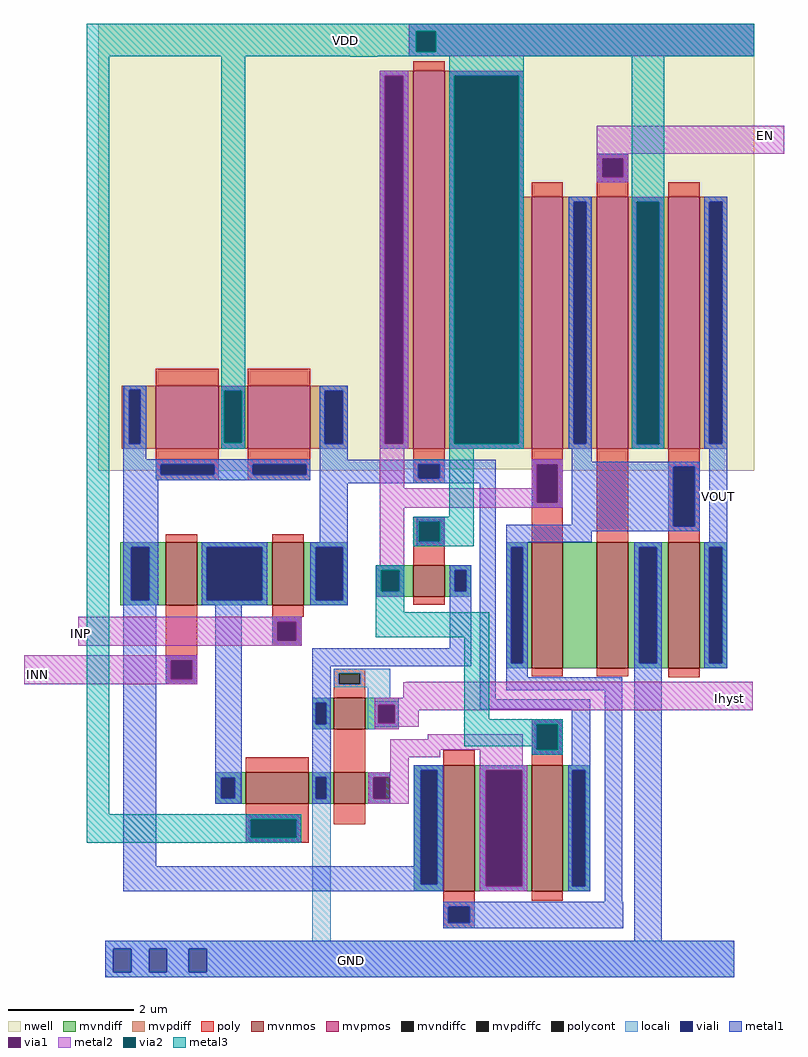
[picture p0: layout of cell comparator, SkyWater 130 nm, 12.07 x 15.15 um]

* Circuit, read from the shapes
.subckt comparator EN GND INN INP Ihyst VDD VOUT
XM1 n1 INN n2 VSUBS sky130_fd_pr__nfet_g5v0d10v5 w=1 l=0.5
XM2 GND VDD n1 VSUBS sky130_fd_pr__nfet_g5v0d10v5 w=0.5 l=1
XM3 n3 INP n1 VSUBS sky130_fd_pr__nfet_g5v0d10v5 w=1 l=0.5
XM4 n4 Ihyst GND VSUBS sky130_fd_pr__nfet_g5v0d10v5 w=0.5 l=0.5
XM5 Ihyst Ihyst GND VSUBS sky130_fd_pr__nfet_g5v0d10v5 w=0.5 l=0.5
XM6 GND VDD n5 VSUBS sky130_fd_pr__nfet_g5v0d10v5 w=0.5 l=0.5
XM7 n4 n6 n2 VSUBS sky130_fd_pr__nfet_g5v0d10v5 w=2 l=0.5
XM8 n3 n5 n4 VSUBS sky130_fd_pr__nfet_g5v0d10v5 w=2 l=0.5
XM9 n7 n5 n6 VSUBS sky130_fd_pr__nfet_g5v0d10v5 w=2 l=0.5
XM10 GND EN n7 VSUBS sky130_fd_pr__nfet_g5v0d10v5 w=2 l=0.5
XM11 VOUT n6 GND VSUBS sky130_fd_pr__nfet_g5v0d10v5 w=2 l=0.5
XM12 VDD n2 n2 n8 sky130_fd_pr__pfet_g5v0d10v5 w=1 l=1
XM13 n3 n2 VDD n8 sky130_fd_pr__pfet_g5v0d10v5 w=1 l=1
XM14 VDD n3 n5 n8 sky130_fd_pr__pfet_g5v0d10v5 w=6 l=0.5
XM15 n6 n5 VDD n8 sky130_fd_pr__pfet_g5v0d10v5 w=4 l=0.5
XM16 VDD EN n6 n8 sky130_fd_pr__pfet_g5v0d10v5 w=4 l=0.5
XM17 VOUT n6 VDD n8 sky130_fd_pr__pfet_g5v0d10v5 w=4 l=0.5
.ends

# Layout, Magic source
magic
tech sky130A
<< nwell >>
rect -243 102 799 810
rect -243 100 243 102
rect 445 100 799 102
<< mvnmos >>
rect -136 -114 -86 -14
rect 33 -114 83 -14
rect 257 -100 307 -50
rect 445 -214 495 -14
rect 549 -214 599 -14
rect 662 -214 712 -14
rect 131 -311 181 -261
rect -9 -429 91 -379
rect 131 -429 181 -379
rect 305 -568 355 -368
rect 445 -568 495 -368
<< mvpmos >>
rect -152 135 -52 235
rect -6 135 94 235
rect 257 135 307 735
rect 445 135 495 535
rect 549 135 599 535
rect 662 135 712 535
<< mvndiff >>
rect -208 -22 -136 -14
rect -208 -106 -191 -22
rect -162 -106 -136 -22
rect -208 -114 -136 -106
rect -86 -22 33 -14
rect -86 -106 -71 -22
rect 17 -106 33 -22
rect -86 -114 33 -106
rect 83 -22 153 -14
rect 83 -106 102 -22
rect 145 -106 153 -22
rect 405 -22 445 -14
rect 198 -58 257 -50
rect 198 -92 206 -58
rect 235 -92 257 -58
rect 198 -100 257 -92
rect 307 -58 349 -50
rect 307 -92 323 -58
rect 341 -92 349 -58
rect 307 -100 349 -92
rect 83 -114 153 -106
rect 405 -206 413 -22
rect 431 -206 445 -22
rect 405 -214 445 -206
rect 495 -214 549 -14
rect 599 -22 662 -14
rect 599 -206 616 -22
rect 644 -206 662 -22
rect 599 -214 662 -206
rect 712 -22 756 -14
rect 712 -206 727 -22
rect 748 -206 756 -22
rect 712 -214 756 -206
rect 97 -269 131 -261
rect 97 -303 102 -269
rect 119 -303 131 -269
rect 97 -311 131 -303
rect 181 -272 234 -261
rect 181 -301 202 -272
rect 228 -301 234 -272
rect 181 -311 234 -301
rect 258 -376 305 -368
rect -57 -388 -9 -379
rect -57 -420 -48 -388
rect -26 -420 -9 -388
rect -57 -429 -9 -420
rect 91 -387 131 -379
rect 91 -421 102 -387
rect 119 -421 131 -387
rect 91 -429 131 -421
rect 181 -387 221 -379
rect 181 -421 194 -387
rect 213 -421 221 -387
rect 181 -429 221 -421
rect 258 -557 269 -376
rect 295 -557 305 -376
rect 258 -568 305 -557
rect 355 -376 445 -368
rect 355 -560 372 -376
rect 430 -560 445 -376
rect 355 -568 445 -560
rect 495 -376 538 -368
rect 495 -560 510 -376
rect 530 -560 538 -376
rect 495 -568 538 -560
<< mvpdiff >>
rect 204 727 257 735
rect -206 228 -152 235
rect -206 143 -194 228
rect -176 143 -152 228
rect -206 135 -152 143
rect -52 227 -6 235
rect -52 144 -43 227
rect -15 144 -6 227
rect -52 135 -6 144
rect 94 227 153 235
rect 94 143 117 227
rect 145 143 153 227
rect 94 135 153 143
rect 204 143 212 727
rect 241 143 257 727
rect 204 135 257 143
rect 307 727 433 735
rect 307 143 322 727
rect 425 535 433 727
rect 425 143 445 535
rect 307 135 445 143
rect 495 527 549 535
rect 495 143 512 527
rect 532 143 549 527
rect 495 135 549 143
rect 599 527 662 535
rect 599 142 612 527
rect 648 142 662 527
rect 599 135 662 142
rect 712 527 756 535
rect 712 143 727 527
rect 748 143 756 527
rect 712 135 756 143
<< mvndiffc >>
rect -191 -106 -162 -22
rect -71 -106 17 -22
rect 102 -106 145 -22
rect 206 -92 235 -58
rect 323 -92 341 -58
rect 413 -206 431 -22
rect 616 -206 644 -22
rect 727 -206 748 -22
rect 102 -303 119 -269
rect 202 -301 228 -272
rect -48 -420 -26 -388
rect 102 -421 119 -387
rect 194 -421 213 -387
rect 269 -557 295 -376
rect 372 -560 430 -376
rect 510 -560 530 -376
<< mvpdiffc >>
rect -194 143 -176 228
rect -43 144 -15 227
rect 117 143 145 227
rect 212 143 241 727
rect 322 143 425 727
rect 512 143 532 527
rect 612 142 648 527
rect 727 143 748 527
<< poly >>
rect 257 735 307 750
rect -152 235 -52 262
rect -6 235 94 262
rect 549 596 599 603
rect 549 566 557 596
rect 591 566 599 596
rect 445 535 495 558
rect 549 535 599 566
rect 662 535 712 558
rect -152 110 -52 135
rect -152 93 -144 110
rect -59 93 -52 110
rect -152 85 -52 93
rect -6 110 94 135
rect -6 93 2 110
rect 87 93 94 110
rect -6 85 94 93
rect 257 110 307 135
rect 257 88 265 110
rect 299 88 307 110
rect 257 80 307 88
rect 445 110 495 135
rect 445 49 453 110
rect 487 49 495 110
rect 257 19 307 27
rect -136 -14 -86 -1
rect 33 -14 83 -1
rect 257 -12 266 19
rect 299 -12 307 19
rect 257 -50 307 -12
rect 445 -14 495 49
rect 549 -14 599 135
rect 662 106 712 135
rect 662 12 670 106
rect 704 12 712 106
rect 662 -14 712 12
rect 257 -113 307 -100
rect -136 -201 -86 -114
rect 33 -132 83 -114
rect 33 -140 80 -132
rect 33 -170 41 -140
rect 71 -170 80 -140
rect 33 -178 80 -170
rect -136 -231 -128 -201
rect -94 -231 -86 -201
rect -136 -239 -86 -231
rect 131 -222 181 -215
rect 131 -239 139 -222
rect 173 -239 181 -222
rect 445 -227 495 -214
rect 549 -227 599 -214
rect 662 -228 712 -214
rect 131 -261 181 -239
rect 445 -303 495 -295
rect -9 -379 91 -355
rect 131 -379 181 -311
rect 445 -343 453 -303
rect 487 -343 495 -303
rect 305 -368 355 -344
rect 445 -368 495 -343
rect -9 -454 91 -429
rect -9 -483 -1 -454
rect 71 -483 91 -454
rect 131 -462 181 -429
rect -9 -491 91 -483
rect 305 -593 355 -568
rect 445 -583 495 -568
rect 305 -618 313 -593
rect 347 -618 355 -593
rect 305 -627 355 -618
<< polycont >>
rect 557 566 591 596
rect -144 93 -59 110
rect 2 93 87 110
rect 265 88 299 110
rect 453 49 487 110
rect 266 -12 299 19
rect 670 12 704 106
rect 41 -170 71 -140
rect -128 -231 -94 -201
rect 139 -239 173 -222
rect 453 -343 487 -303
rect -1 -483 71 -454
rect 313 -618 347 -593
<< locali >>
rect 250 798 799 810
rect 250 765 262 798
rect 293 765 799 798
rect 250 758 799 765
rect 204 727 249 735
rect -202 228 -167 235
rect -202 143 -194 228
rect -176 143 -167 228
rect -202 135 -167 143
rect -48 227 -10 235
rect -48 144 -43 227
rect -15 144 -10 227
rect -48 135 -10 144
rect 109 227 153 235
rect 109 143 117 227
rect 145 143 153 227
rect 109 135 153 143
rect 204 143 212 727
rect 241 143 249 727
rect 204 135 249 143
rect 314 727 433 735
rect 314 143 322 727
rect 425 143 433 727
rect 549 596 599 603
rect 549 566 557 596
rect 591 566 599 596
rect 549 558 599 566
rect 314 135 433 143
rect 504 527 540 535
rect 504 143 512 527
rect 532 143 540 527
rect 504 135 540 143
rect 604 527 656 535
rect 604 142 612 527
rect 648 142 656 527
rect 604 135 656 142
rect 719 527 756 535
rect 719 143 727 527
rect 748 143 756 527
rect 719 135 756 143
rect -152 110 94 118
rect -152 93 -144 110
rect -59 93 2 110
rect 87 93 94 110
rect -152 85 94 93
rect 257 110 307 118
rect 257 88 265 110
rect 299 88 307 110
rect 257 80 307 88
rect 445 110 495 118
rect 445 49 453 110
rect 487 49 495 110
rect 445 41 495 49
rect 662 106 712 114
rect 257 19 307 27
rect 257 -12 266 19
rect 299 -12 307 19
rect 662 12 670 106
rect 704 12 712 106
rect 662 4 712 12
rect -203 -22 -148 -14
rect -203 -106 -191 -22
rect -162 -106 -148 -22
rect -203 -114 -148 -106
rect -79 -22 25 -14
rect -79 -106 -71 -22
rect 17 -106 25 -22
rect -79 -114 25 -106
rect 94 -22 153 -14
rect 257 -20 307 -12
rect 94 -106 102 -22
rect 145 -106 153 -22
rect 405 -22 439 -14
rect 198 -58 243 -50
rect 198 -92 206 -58
rect 235 -92 243 -58
rect 198 -100 243 -92
rect 315 -58 349 -50
rect 315 -92 323 -58
rect 341 -92 349 -58
rect 315 -100 349 -92
rect 94 -114 153 -106
rect 33 -140 80 -132
rect 33 -170 41 -140
rect 71 -170 80 -140
rect 33 -178 80 -170
rect -136 -201 -86 -193
rect -136 -231 -128 -201
rect -94 -231 -86 -201
rect 405 -206 413 -22
rect 431 -206 439 -22
rect 405 -214 439 -206
rect 608 -22 652 -14
rect 608 -206 616 -22
rect 644 -206 652 -22
rect 608 -214 652 -206
rect 719 -22 756 -14
rect 719 -206 727 -22
rect 748 -206 756 -22
rect 719 -214 756 -206
rect -136 -239 -86 -231
rect 131 -222 221 -215
rect 131 -239 139 -222
rect 173 -239 221 -222
rect 131 -244 221 -239
rect 185 -261 221 -244
rect 97 -269 125 -261
rect 97 -303 102 -269
rect 119 -303 125 -269
rect 97 -311 125 -303
rect 185 -272 234 -261
rect 185 -301 202 -272
rect 228 -301 234 -272
rect 185 -311 234 -301
rect 445 -303 495 -295
rect 445 -343 453 -303
rect 487 -343 495 -303
rect 445 -351 495 -343
rect 258 -376 305 -368
rect -57 -388 -17 -379
rect -57 -420 -48 -388
rect -26 -420 -17 -388
rect -57 -429 -17 -420
rect 97 -387 126 -379
rect 97 -421 102 -387
rect 119 -421 126 -387
rect -9 -454 79 -446
rect -9 -483 -1 -454
rect 71 -483 79 -454
rect -9 -491 79 -483
rect 97 -647 126 -421
rect 186 -387 221 -379
rect 186 -421 194 -387
rect 213 -421 221 -387
rect 186 -429 221 -421
rect 258 -557 269 -376
rect 295 -557 305 -376
rect 258 -568 305 -557
rect 363 -376 438 -368
rect 363 -560 372 -376
rect 430 -560 438 -376
rect 363 -568 438 -560
rect 503 -376 538 -368
rect 503 -560 510 -376
rect 530 -560 538 -376
rect 503 -568 538 -560
rect 305 -593 355 -585
rect 305 -618 313 -593
rect 347 -618 355 -593
rect 305 -627 355 -618
rect -232 -659 767 -647
rect -232 -697 -219 -659
rect -191 -697 -162 -659
rect -134 -697 -99 -659
rect -71 -697 767 -659
rect -232 -705 767 -697
<< viali >>
rect 262 765 293 798
rect -194 143 -176 228
rect -43 144 -15 227
rect 117 143 145 227
rect 212 143 241 727
rect 322 143 425 727
rect 557 566 591 596
rect 512 143 532 527
rect 612 142 648 527
rect 727 143 748 527
rect -144 93 -59 110
rect 2 93 87 110
rect 265 88 299 110
rect 453 49 487 110
rect 266 -12 299 19
rect 670 12 704 106
rect -191 -106 -162 -22
rect -71 -106 17 -22
rect 102 -106 145 -22
rect 206 -92 235 -58
rect 323 -92 341 -58
rect 41 -170 71 -140
rect -128 -231 -94 -201
rect 413 -206 431 -22
rect 616 -206 644 -22
rect 727 -206 748 -22
rect 102 -303 119 -269
rect 202 -301 228 -272
rect 453 -343 487 -303
rect -48 -420 -26 -388
rect 102 -421 119 -387
rect -1 -483 71 -454
rect 194 -421 213 -387
rect 269 -557 295 -376
rect 372 -560 430 -376
rect 510 -560 530 -376
rect 313 -618 347 -593
rect -219 -697 -191 -659
rect -162 -697 -134 -659
rect -99 -697 -71 -659
<< metal1 >>
rect 250 798 799 810
rect 250 765 262 798
rect 293 765 799 798
rect 250 758 799 765
rect 204 727 249 735
rect -203 228 -167 235
rect -203 143 -194 228
rect -176 143 -167 228
rect -203 118 -167 143
rect -48 227 -10 235
rect -48 144 -43 227
rect -15 144 -10 227
rect -48 135 -10 144
rect 109 227 153 235
rect 109 143 117 227
rect 145 143 153 227
rect -203 110 94 118
rect -203 93 -144 110
rect -59 93 2 110
rect 87 93 94 110
rect -203 85 94 93
rect 109 117 153 143
rect 204 143 212 727
rect 241 143 249 727
rect 204 135 249 143
rect 314 727 433 735
rect 314 143 322 727
rect 425 143 433 727
rect 549 596 599 603
rect 549 566 557 596
rect 591 566 599 596
rect 549 558 599 566
rect 314 135 433 143
rect 504 527 541 535
rect 504 143 512 527
rect 532 143 541 527
rect 504 135 541 143
rect 604 527 656 535
rect 604 142 612 527
rect 648 142 656 527
rect 604 135 656 142
rect 719 527 756 535
rect 719 143 727 527
rect 748 143 756 527
rect 719 135 756 143
rect 109 110 388 117
rect 109 88 265 110
rect 299 88 388 110
rect -203 -22 -148 85
rect 109 80 388 88
rect 109 -14 153 80
rect -203 -106 -191 -22
rect -162 -106 -148 -22
rect -203 -114 -148 -106
rect -79 -22 25 -14
rect -79 -106 -71 -22
rect 17 -106 25 -22
rect -79 -114 25 -106
rect 94 -22 153 -14
rect 263 19 307 27
rect 263 -12 266 19
rect 299 -12 307 19
rect 263 -20 307 -12
rect 94 -106 102 -22
rect 145 -106 153 -22
rect 198 -58 243 -50
rect 198 -92 206 -58
rect 235 -92 243 -58
rect 198 -100 243 -92
rect 315 -58 349 -50
rect 315 -92 323 -58
rect 341 -92 349 -58
rect 94 -114 153 -106
rect -203 -528 -151 -114
rect -136 -201 -86 -193
rect -136 -231 -128 -201
rect -94 -231 -86 -201
rect -136 -239 -86 -231
rect -57 -388 -15 -114
rect 33 -140 80 -132
rect 33 -170 41 -140
rect 71 -170 80 -140
rect 33 -178 80 -170
rect 315 -182 349 -92
rect -57 -420 -48 -388
rect -26 -420 -15 -388
rect -57 -429 -15 -420
rect 97 -211 349 -182
rect 97 -269 126 -211
rect 363 -263 388 80
rect 445 110 495 118
rect 445 49 453 110
rect 487 49 495 110
rect 445 41 495 49
rect 509 114 541 135
rect 509 106 712 114
rect 509 14 670 106
rect 405 12 670 14
rect 704 12 712 106
rect 405 4 712 12
rect 405 -14 541 4
rect 727 -14 756 135
rect 405 -22 439 -14
rect 405 -206 413 -22
rect 431 -206 439 -22
rect 405 -228 439 -206
rect 608 -22 652 -14
rect 608 -206 616 -22
rect 644 -206 652 -22
rect 405 -249 589 -228
rect 97 -303 102 -269
rect 119 -303 126 -269
rect 97 -387 126 -303
rect 196 -272 234 -266
rect 196 -301 202 -272
rect 228 -301 234 -272
rect 363 -279 538 -263
rect 196 -307 234 -301
rect 445 -303 495 -295
rect 445 -343 453 -303
rect 487 -343 495 -303
rect 445 -351 495 -343
rect 509 -368 538 -279
rect 258 -376 305 -368
rect 97 -421 102 -387
rect 119 -421 126 -387
rect 97 -429 126 -421
rect 186 -387 221 -379
rect 186 -421 194 -387
rect 220 -421 221 -387
rect 186 -429 221 -421
rect -9 -454 79 -446
rect -9 -483 -1 -454
rect 71 -483 79 -454
rect -9 -491 79 -483
rect 258 -528 269 -376
rect -203 -557 269 -528
rect 295 -557 305 -376
rect -203 -568 305 -557
rect 363 -376 438 -368
rect 363 -560 372 -376
rect 430 -560 438 -376
rect 363 -568 438 -560
rect 503 -376 538 -368
rect 503 -560 510 -376
rect 530 -560 538 -376
rect 503 -568 538 -560
rect 561 -585 589 -249
rect 305 -593 591 -585
rect 305 -618 313 -593
rect 347 -618 591 -593
rect 305 -627 591 -618
rect 608 -647 652 -206
rect 719 -22 756 -14
rect 719 -206 727 -22
rect 748 -206 756 -22
rect 719 -214 756 -206
rect -232 -659 767 -647
rect -232 -697 -219 -659
rect -191 -697 -162 -659
rect -134 -697 -99 -659
rect -71 -697 767 -659
rect -232 -705 767 -697
<< via1 >>
rect 262 765 293 798
rect -43 144 -15 227
rect 212 143 241 727
rect 322 143 425 727
rect 557 566 591 596
rect 612 142 648 527
rect 266 -12 299 19
rect 206 -92 235 -58
rect -128 -231 -94 -201
rect 41 -170 71 -140
rect 453 49 487 110
rect 202 -301 228 -272
rect 453 -343 487 -303
rect 194 -421 213 -387
rect 213 -421 220 -387
rect -1 -483 71 -454
rect 372 -560 430 -376
<< metal2 >>
rect 250 798 799 810
rect 250 765 262 798
rect 293 765 799 798
rect 250 758 799 765
rect 204 727 249 735
rect -48 227 -10 235
rect -48 144 -43 227
rect -15 144 -10 227
rect -48 135 -10 144
rect 204 143 212 727
rect 241 143 249 727
rect 204 135 249 143
rect 314 727 433 735
rect 314 143 322 727
rect 425 143 433 727
rect 549 603 846 648
rect 549 596 599 603
rect 549 566 557 596
rect 591 566 599 596
rect 549 558 599 566
rect 314 135 433 143
rect 604 527 656 535
rect 604 142 612 527
rect 648 142 656 527
rect 604 135 656 142
rect 204 72 243 135
rect 445 110 495 118
rect 445 72 453 110
rect 204 49 453 72
rect 487 49 495 110
rect 204 41 495 49
rect 204 -50 243 41
rect 257 19 307 27
rect 257 -12 266 19
rect 299 -12 307 19
rect 257 -20 307 -12
rect 198 -58 243 -50
rect 198 -92 206 -58
rect 235 -92 243 -58
rect 198 -100 243 -92
rect -275 -140 80 -132
rect -275 -170 41 -140
rect 71 -170 80 -140
rect -275 -178 80 -170
rect -361 -201 -86 -193
rect -361 -231 -128 -201
rect -94 -231 -86 -201
rect -361 -239 -86 -231
rect 246 -236 796 -235
rect 241 -261 796 -236
rect 196 -272 796 -261
rect 196 -301 202 -272
rect 228 -281 796 -272
rect 228 -301 266 -281
rect 196 -307 266 -301
rect 445 -303 495 -295
rect 196 -311 234 -307
rect 280 -327 431 -319
rect 221 -343 431 -327
rect 221 -355 300 -343
rect 221 -379 250 -355
rect 186 -387 250 -379
rect 186 -421 194 -387
rect 220 -421 250 -387
rect 186 -429 250 -421
rect 363 -368 431 -343
rect 445 -343 453 -303
rect 487 -343 495 -303
rect 445 -351 495 -343
rect 363 -376 438 -368
rect -9 -454 79 -446
rect -9 -483 -1 -454
rect 71 -483 79 -454
rect -9 -491 79 -483
rect 363 -560 372 -376
rect 430 -560 438 -376
rect 363 -568 438 -560
<< via2 >>
rect 262 765 293 798
rect -43 144 -15 227
rect 322 143 425 727
rect 612 142 648 527
rect 266 -12 299 19
rect 206 -92 235 -58
rect 453 -343 487 -303
rect -1 -483 71 -454
<< metal3 >>
rect -261 798 799 810
rect -261 765 262 798
rect 293 765 799 798
rect -261 758 799 765
rect -261 -446 -226 758
rect -48 227 -10 758
rect 156 757 200 758
rect -48 144 -43 227
rect -15 144 -10 227
rect -48 135 -10 144
rect 314 727 433 758
rect 314 143 322 727
rect 425 143 433 727
rect 314 135 433 143
rect 604 527 656 758
rect 604 142 612 527
rect 648 142 656 527
rect 604 135 656 142
rect 314 27 353 135
rect 257 19 353 27
rect 257 -12 266 19
rect 299 -12 353 19
rect 257 -20 353 -12
rect 198 -58 243 -50
rect 198 -92 206 -58
rect 235 -92 243 -58
rect 198 -125 243 -92
rect 198 -165 378 -125
rect 338 -295 378 -165
rect 338 -303 495 -295
rect 338 -338 453 -303
rect 445 -343 453 -338
rect 487 -343 495 -303
rect 445 -351 495 -343
rect -261 -454 79 -446
rect -261 -483 -1 -454
rect 71 -483 79 -454
rect -261 -491 79 -483
<< labels >>
rlabel metal1 159 -678 159 -678 1 GND
rlabel metal3 150 783 150 783 1 VDD
rlabel metal2 816 632 816 632 1 EN
rlabel metal2 759 -262 759 -262 1 Ihyst
rlabel metal2 -340 -224 -340 -224 1 INN
rlabel metal2 -271 -159 -271 -159 1 INP
rlabel metal1 742 59 742 59 1 VOUT
<< end >>
